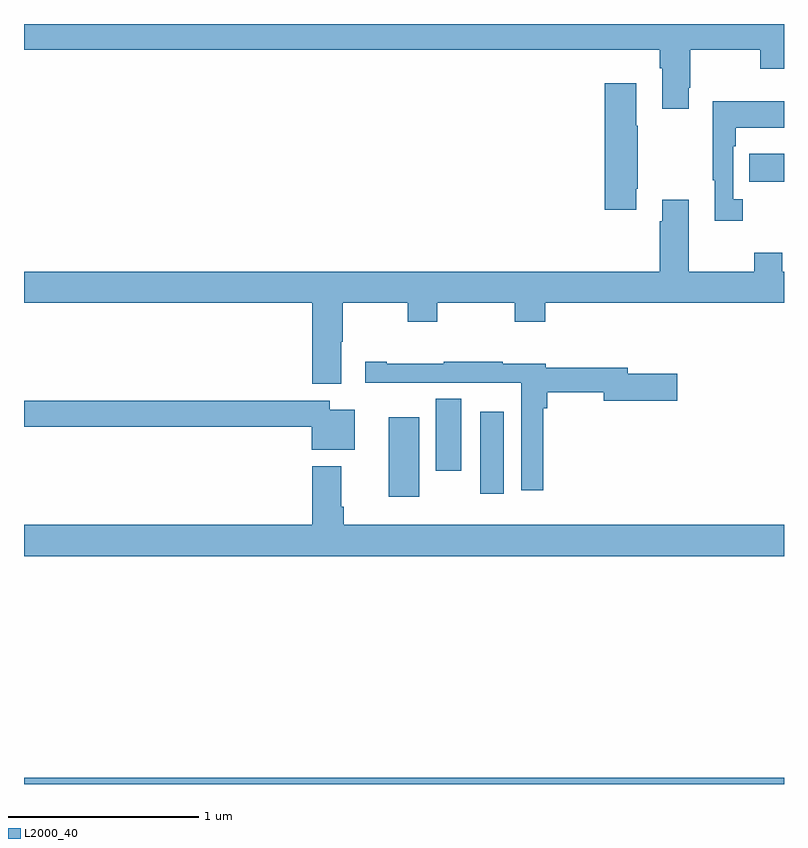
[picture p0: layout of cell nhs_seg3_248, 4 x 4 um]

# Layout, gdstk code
import gdstk
lib = gdstk.Library(unit=1e-6, precision=1e-09)
def R(c, l, rs):  # rectangles x0, y0, x1, y1
    for r in rs: c.add(gdstk.rectangle(r[:2], r[2:], *l))
def P(c, l, *ps):  # polygons
    for p in ps: c.add(gdstk.Polygon(p, *l))
L2000_40 = (2000, 40)

nhs_seg3_248 = lib.new_cell('nhs_seg3_248')
R(nhs_seg3_248, L2000_40, [(123,682.4,127,682.432), (124.919,683.913,125.08,684.331), (125.402,683.928,125.524,684.358), (125.168,684.048,125.302,684.428), (126.817,685.57,127,685.717)])
P(nhs_seg3_248, L2000_40, [(126.499,686.065),(126.507,686.065),(126.507,686.264),(126.874,686.264),(126.874,686.165),(127,686.165),(127,686.4),(123,686.4),(123,686.264),(126.347,686.264),(126.347,686.168),(126.359,686.168),(126.359,685.953),(126.499,685.953)],
  [(126.223,685.534),(126.231,685.534),(126.231,685.865),(126.223,685.865),(126.223,686.089),(126.056,686.089),(126.056,685.422),(126.223,685.422)],
  [(126.784,685.478),(126.732,685.478),(126.732,685.757),(126.745,685.757),(126.745,685.853),(127,685.853),(127,685.993),(126.624,685.993),(126.624,685.577),(126.635,685.577),(126.635,685.365),(126.784,685.365)],
  [(124.669,684.728),(124.677,684.728),(124.677,684.932),(125.02,684.932),(125.02,684.833),(125.175,684.833),(125.175,684.932),(125.584,684.932),(125.584,684.833),(125.744,684.833),(125.744,684.932),(127,684.932),(127,685.096),(126.991,685.096),(126.991,685.195),(126.844,685.195),(126.844,685.096),(126.499,685.096),(126.499,685.474),(126.359,685.474),(126.359,685.361),(126.347,685.361),(126.347,685.096),(123,685.096),(123,684.932),(124.517,684.932),(124.517,684.507),(124.669,684.507)],
  [(125.732,684.377),(125.754,684.377),(125.754,684.463),(126.05,684.463),(126.05,684.416),(126.439,684.416),(126.439,684.558),(126.178,684.558),(126.178,684.592),(125.746,684.592),(125.746,684.612),(125.519,684.612),(125.519,684.622),(125.209,684.622),(125.209,684.612),(124.909,684.612),(124.909,684.622),(124.797,684.622),(124.797,684.512),(125.072,684.512),(125.072,684.513),(125.406,684.513),(125.406,684.512),(125.616,684.512),(125.616,683.946),(125.732,683.946)],
  [(124.741,684.37),(124.608,684.37),(124.608,684.416),(123,684.416),(123,684.28),(124.514,684.28),(124.514,684.158),(124.741,684.158)],
  [(127,683.764),(124.682,683.764),(124.682,683.86),(124.669,683.86),(124.669,684.073),(124.517,684.073),(124.517,683.764),(123,683.764),(123,683.6),(127,683.6)])

lib.write_gds('nhs_seg3_248.gds')
